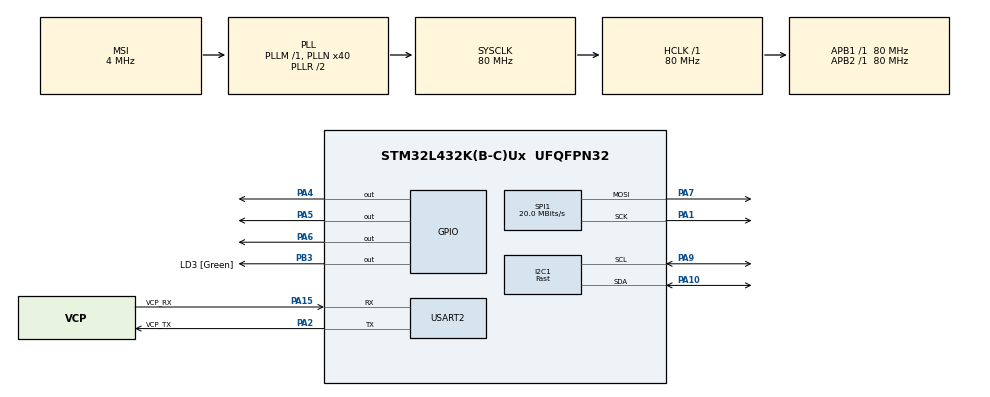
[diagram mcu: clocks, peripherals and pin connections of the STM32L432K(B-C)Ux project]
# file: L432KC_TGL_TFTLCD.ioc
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I2C1.I2C_Speed_Mode=I2C_Fast
I2C1.Timing=0x00702991
Mcu.Family=STM32L4
Mcu.Name=STM32L432K(B-C)Ux
Mcu.Package=UFQFPN32
NVIC.PriorityGroup=NVIC_PRIORITYGROUP_4
NVIC.TIM2_IRQn=true\:0\:0\:false\:false\:true\:true
PA0.GPIO_Label=MCO [High speed clock in]
PA0.Signal=RCC_CK_IN
PA1.Mode=TX_Only_Simplex_Unidirect_Master
PA1.Signal=SPI1_SCK
PA10.Mode=I2C
PA10.Signal=I2C1_SDA
PA13\ (JTMS-SWDIO).GPIO_Label=SWDIO
PA13\ (JTMS-SWDIO).Signal=SYS_JTMS-SWDIO
PA14\ (JTCK-SWCLK).GPIO_Label=SWCLK
PA14\ (JTCK-SWCLK).Signal=SYS_JTCK-SWCLK
PA15\ (JTDI).GPIO_Label=VCP_RX
PA15\ (JTDI).Mode=Asynchronous
PA15\ (JTDI).Signal=USART2_RX
PA2.GPIO_Label=VCP_TX
PA2.Mode=Asynchronous
PA2.Signal=USART2_TX
PA4.Signal=GPIO_Output
PA5.Signal=GPIO_Output
PA6.Signal=GPIO_Output
PA7.Mode=TX_Only_Simplex_Unidirect_Master
PA7.Signal=SPI1_MOSI
PA9.Mode=I2C
PA9.Signal=I2C1_SCL
PB3\ (JTDO-TRACESWO).GPIO_Label=LD3 [Green]
PB3\ (JTDO-TRACESWO).Signal=GPIO_Output
PC14-OSC32_IN\ (PC14).Signal=RCC_OSC32_IN
PC15-OSC32_OUT\ (PC15).Signal=RCC_OSC32_OUT
ProjectManager.HeapSize=0x200
ProjectManager.StackSize=0x400
ProjectManager.TargetToolchain=TrueSTUDIO
RCC.ADCFreq_Value=32000000
RCC.AHBFreq_Value=80000000
RCC.APB1Freq_Value=80000000
RCC.APB1TimFreq_Value=80000000
RCC.APB2Freq_Value=80000000
RCC.APB2TimFreq_Value=80000000
RCC.CortexFreq_Value=80000000
RCC.HCLKFreq_Value=80000000
RCC.HSE_VALUE=8000000
RCC.HSI16_VALUE=16000000
RCC.HSI48_VALUE=48000000
RCC.HSI_VALUE=16000000
RCC.LSE_VALUE=32768
RCC.MSI_VALUE=4000000
RCC.PLLMUL=RCC_PLLMUL_4
RCC.PLLN=40
RCC.PLLSAI1N=16
RCC.SYSCLKFreq_VALUE=80000000
RCC.SYSCLKSource=RCC_SYSCLKSOURCE_PLLCLK
RCC.USBFreq_Value=32000000
RCC.VCOOutputFreq_Value=160000000
SPI1.BaudRatePrescaler=SPI_BAUDRATEPRESCALER_4
SPI1.CalculateBaudRate=20.0 MBits/s
SPI1.DataSize=SPI_DATASIZE_8BIT
SPI1.Direction=SPI_DIRECTION_2LINES
SPI1.Mode=SPI_MODE_MASTER
SPI1.NSSPMode=SPI_NSS_PULSE_DISABLE
SPI1.VirtualType=VM_MASTER
TIM2.Period=9999
TIM2.Prescaler=7999
USART2.VirtualMode-Asynchronous=VM_ASYNC
USART2.WordLength=WORDLENGTH_8B
VP_RNG_VS_RNG.Mode=RNG_Activate
VP_TIM2_VS_ClockSourceINT.Mode=Internal
board=NUCLEO-L432KC

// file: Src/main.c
/**
  ******************************************************************************
  * File Name          : main.c
  * Description        : Main program body
  ******************************************************************************
  ** This notice applies to any and all portions of this file
  * that are not between comment pairs USER CODE BEGIN and
  * USER CODE END. Other portions of this file, whether
  * inserted by the user or by software development tools
  * are owned by their respective copyright owners.
  *
  * COPYRIGHT(c) 2017 STMicroelectronics
  *
  * Redistribution and use in source and binary forms, with or without modification,
  * are permitted provided that the following conditions are met:
  *   1. Redistributions of source code must retain the above copyright notice,
  *      this list of conditions and the following disclaimer.
  *   2. Redistributions in binary form must reproduce the above copyright notice,
  *      this list of conditions and the following disclaimer in the documentation
  *      and/or other materials provided with the distribution.
  *   3. Neither the name of STMicroelectronics nor the names of its contributors
  *      may be used to endorse or promote products derived from this software
  *      without specific prior written permission.
  *
  * THIS SOFTWARE IS PROVIDED BY THE COPYRIGHT HOLDERS AND CONTRIBUTORS "AS IS"
  * AND ANY EXPRESS OR IMPLIED WARRANTIES, INCLUDING, BUT NOT LIMITED TO, THE
  * IMPLIED WARRANTIES OF MERCHANTABILITY AND FITNESS FOR A PARTICULAR PURPOSE ARE
  * DISCLAIMED. IN NO EVENT SHALL THE COPYRIGHT HOLDER OR CONTRIBUTORS BE LIABLE
  * FOR ANY DIRECT, INDIRECT, INCIDENTAL, SPECIAL, EXEMPLARY, OR CONSEQUENTIAL
  * DAMAGES (INCLUDING, BUT NOT LIMITED TO, PROCUREMENT OF SUBSTITUTE GOODS OR
  * SERVICES; LOSS OF USE, DATA, OR PROFITS; OR BUSINESS INTERRUPTION) HOWEVER
  * CAUSED AND ON ANY THEORY OF LIABILITY, WHETHER IN CONTRACT, STRICT LIABILITY,
  * OR TORT (INCLUDING NEGLIGENCE OR OTHERWISE) ARISING IN ANY WAY OUT OF THE USE
  * OF THIS SOFTWARE, EVEN IF ADVISED OF THE POSSIBILITY OF SUCH DAMAGE.
  *
  ******************************************************************************
  */

#include "main.h"
#include "stm32l4xx_hal.h"

/* USER CODE BEGIN Includes */

#include "LTM022A69B.h"
#include "userDelay.h"
#include "arm_math.h"

#include <stdio.h>
#include <math.h>
#include <string.h>
#include <time.h>

#define I2C_ADDR     (0x44<<1)
/* USER CODE END Includes */

I2C_HandleTypeDef hi2c1;

RNG_HandleTypeDef hrng;

SPI_HandleTypeDef hspi1;

TIM_HandleTypeDef htim2;

UART_HandleTypeDef huart2;

/* USER CODE BEGIN PV */
/* Private variables ---------------------------------------------------------*/
uint8_t 	Rx_Data2[2];     // usart2 receive data
uint8_t		Tx_I2C_Data[2];
uint8_t 	Rx_I2C_Data[6];
uint8_t		count = 0;
/* USER CODE END PV */

void SystemClock_Config(void);
static void MX_GPIO_Init(void);
static void MX_USART2_UART_Init(void);
static void MX_SPI1_Init(void);
static void MX_TIM2_Init(void);
static void MX_I2C1_Init(void);
static void MX_RNG_Init(void);

/* USER CODE BEGIN PFP */
/* Private function prototypes -----------------------------------------------*/
void HAL_UART_RxCpltCallback(UART_HandleTypeDef *huart);
void HAL_TIM_PeriodElapsedCallback(TIM_HandleTypeDef *htim);

/* USER CODE END PFP */

/* USER CODE BEGIN 0 */
void HAL_UART_RxCpltCallback(UART_HandleTypeDef *huart)
{
	if(huart->Instance==USART2){
//		HAL_UART_Transmit(&huart2,(uint8_t *)&Rx_Data2, 1,1000);
//		HAL_UART_Receive_IT(&huart2,(uint8_t *)&Rx_Data2, 1);
	}
}

char prtData[50];
uint16_t temp,humi;
double  Ftemp, Fhumi;
void HAL_TIM_PeriodElapsedCallback(TIM_HandleTypeDef *htim)
{
	if(htim->Instance==TIM2) {
		if(count++==2)
		{
			count = 0;
			Tx_I2C_Data[0] = 0x00;
			while(HAL_I2C_Master_Transmit(&hi2c1,(uint16_t)I2C_ADDR,(uint8_t *)&Tx_I2C_Data,0,1000)!=HAL_OK);
			delay_ms(50);
			while(HAL_I2C_Master_Receive (&hi2c1,(uint16_t)I2C_ADDR,(uint8_t *)Rx_I2C_Data,4,1000)!=HAL_OK);

			temp = 0;
			temp = (Rx_I2C_Data[0]<<8) | Rx_I2C_Data[1];
			temp &= 0x3FFF;
			Fhumi = (temp/16383.0)*100.0;

			humi = 0;
			humi = (Rx_I2C_Data[2]<<8) | Rx_I2C_Data[3];
			humi &= 0xFFFC;
			Ftemp = (humi/4.0/16383)*165.0-40;

			// send data to Remote per 5 sec
			sprintf(prtData,"온습도:%8.3f C,%8.3f %%",Ftemp,Fhumi);
			HAL_UART_Transmit(&huart2,(uint8_t *)prtData, strlen(prtData),1000);
			HAL_UART_Transmit(&huart2,(uint8_t *)"\r\n", 2,1000);
			// lcd_clear_screen(rand()%17);

/*			uint16_t clr,x1,x2,y1,y2;

			clr = (uint16_t)(rand()%17);
			x1 = (uint16_t)(rand()%240);
			y1 = (uint16_t)(rand()%320);
			x2 = (uint16_t)(rand()%240);
			y2 = (uint16_t)(rand()%320); */

//------------------
     		LCD_WRITE_COMMAND( 0x003, 0x1230 );
//			lcd_string(10,0,prtData, WHITE, DARKGRAY);
			lcd_display_string(prtData, WHITE, DARKGRAY,0,0);

			LCD_WRITE_COMMAND( 0x003, 0x1238 );
//			lcd_string(11,0,prtData, WHITE, DARKGRAY);
			lcd_display_string(prtData, WHITE, DARKGRAY,0,1);
			LCD_WRITE_COMMAND( 0x003, 0x12a0 );
			lcd_string(12,0,prtData, WHITE, DARKGRAY);
			LCD_WRITE_COMMAND( 0x003, 0x12b0 );
			lcd_string(13,0,prtData, WHITE, DARKGRAY);

			LCD_WRITE_COMMAND( 0x003, 0x1288 );
			lcd_string(15,0,prtData, WHITE, DARKGRAY);
			LCD_WRITE_COMMAND( 0x003, 0x1298 );
			lcd_string(16,0,prtData, WHITE, DARKGRAY);
			LCD_WRITE_COMMAND( 0x003, 0x12a8 );
			lcd_string(17,0,prtData, WHITE, DARKGRAY);
			LCD_WRITE_COMMAND( 0x003, 0x12b8 );
			lcd_string(18,0,prtData, WHITE, DARKGRAY);

			// sprintf(prtData,"%4d%4d%4d%4d",x1,y1,x2,y2);
			// lcd_string(12,0,prtData, RED, WHITE);
			// lcd_draw_line(clr,x1,y1,x2,y2);

		}
	}
}
/* USER CODE END 0 */

int main(void)
{

  /* MCU Configuration----------------------------------------------------------*/

  /* Reset of all peripherals, Initializes the Flash interface and the Systick. */
  HAL_Init();

  /* Configure the system clock */
  SystemClock_Config();

  /* Initialize all configured peripherals */
  MX_GPIO_Init();
  MX_USART2_UART_Init();
  MX_SPI1_Init();
  MX_TIM2_Init();
  MX_I2C1_Init();
  MX_RNG_Init();

  /* Infinite loop */
  /* USER CODE BEGIN WHILE */

//  srand( (int)time(NULL));

  volatile double  	d1,d2;

  lcd_init();
  lcd_clear_screen(ORANGE);

  int Color[] = {
    CYAN,
    PURPLE,
    RED,
    GREEN,
    BLUE,
    WHITE,
    YELLOW,
    ORANGE,
    GRAY,
    LGRAY,
    DARKGRAY,
    PORPO,
    PINK,
    GRAYBLUE,
    LGRAYBLUE,
    DARKBLUE,
    LIGHTBLUE
  };

  //for(int m=0;m<17;m++) lcd_clear_screen(Color[m]);

  while(HAL_UART_Receive_IT(&huart2, (uint8_t *)Rx_Data2, 1)!=HAL_OK);
  while(HAL_TIM_Base_Start_IT(&htim2)!=HAL_OK);

  char sdata[20];
  while (1)
  {
  /* USER CODE END WHILE */

  /* USER CODE BEGIN 3 */
	  d1 = 0;
	  for(volatile int n=0;n<10000;n++)
	  {
		  d1 = arm_sin_f32(n);
		  d1 = arm_cos_f32(n);
		  d1 = tan(n);
	  }
		HAL_GPIO_TogglePin(LD3_GPIO_Port, LD3_Pin);

/*	  d2 = 0;
	  for(int n=0;n<10000;n++)
	  {
		  d2 += sin((rand()%90)*3.141592/180);
	  }
      HAL_GPIO_TogglePin(LD3_GPIO_Port, LD3_Pin);
*/
     // sprintf(sdata,"%8.2f,%8.2f",d1,d2);
	 // lcd_string(10,0,sdata, WHITE, DARKGRAY);

	  /*	 for(n=1;n<100001;n++) {
	     d1 = sin(n*3.141592/180); // d= arm_sin_f32(n*3.141592/180);
	  	 d2 = cos(n*3.141592/180);
	  	 d3 = tan(n*3.141592/180);
		 HAL_GPIO_TogglePin(LD3_GPIO_Port, LD3_Pin);
		 HAL_GPIO_TogglePin(GPIOA, GPIO_PIN_9);
		 HAL_GPIO_TogglePin(GPIOA, GPIO_PIN_10);
		 HAL_GPIO_TogglePin(GPIOB, GPIO_PIN_6);

		 sprintf(str,"%07d : %10.4f%10.4f%10.4f\r\n",n,d1,d2,d3);
		 HAL_UART_Transmit(&huart2,(uint8_t *)str,strlen(str),1000);
		 HAL_Delay(500);
	  } */
/*
	  	  for(int n=0;n<20;n++) {
			  lcd_clear_screen(Color[n % 17]);
	  		  for(int i=0; i<20; i++)
	  		  {
			  sprintf(bufnum, "[%02d]", i);
			  lcd_string(i,0,bufnum, Color[i % 17], Color[n % 17]);
			  lcd_string(i,4,"한글입력, 안녕하세요~!@#", Color[i % 17], Color[n % 17]);
			  // HAL_Delay(100);
	  		  }
	  	  } */

	  /*
	 HAL_GPIO_TogglePin(LD3_GPIO_Port, LD3_Pin);
	 HAL_GPIO_TogglePin(GPIOA, GPIO_PIN_9);
	 delay_ms(1);
	 */

  }
  /* USER CODE END 3 */

}

/** System Clock Configuration
*/
void SystemClock_Config(void)
{

  RCC_OscInitTypeDef RCC_OscInitStruct;
  RCC_ClkInitTypeDef RCC_ClkInitStruct;
  RCC_PeriphCLKInitTypeDef PeriphClkInit;

    /**Initializes the CPU, AHB and APB busses clocks
    */
  RCC_OscInitStruct.OscillatorType = RCC_OSCILLATORTYPE_MSI;
  RCC_OscInitStruct.MSIState = RCC_MSI_ON;
  RCC_OscInitStruct.MSICalibrationValue = 0;
  RCC_OscInitStruct.MSIClockRange = RCC_MSIRANGE_6;
  RCC_OscInitStruct.PLL.PLLState = RCC_PLL_ON;
  RCC_OscInitStruct.PLL.PLLSource = RCC_PLLSOURCE_MSI;
  RCC_OscInitStruct.PLL.PLLM = 1;
  RCC_OscInitStruct.PLL.PLLN = 40;
  RCC_OscInitStruct.PLL.PLLP = RCC_PLLP_DIV7;
  RCC_OscInitStruct.PLL.PLLQ = RCC_PLLQ_DIV2;
  RCC_OscInitStruct.PLL.PLLR = RCC_PLLR_DIV2;
  if (HAL_RCC_OscConfig(&RCC_OscInitStruct) != HAL_OK)
  {
    _Error_Handler(__FILE__, __LINE__);
  }

    /**Initializes the CPU, AHB and APB busses clocks
    */
  RCC_ClkInitStruct.ClockType = RCC_CLOCKTYPE_HCLK|RCC_CLOCKTYPE_SYSCLK
                              |RCC_CLOCKTYPE_PCLK1|RCC_CLOCKTYPE_PCLK2;
  RCC_ClkInitStruct.SYSCLKSource = RCC_SYSCLKSOURCE_PLLCLK;
  RCC_ClkInitStruct.AHBCLKDivider = RCC_SYSCLK_DIV1;
  RCC_ClkInitStruct.APB1CLKDivider = RCC_HCLK_DIV1;
  RCC_ClkInitStruct.APB2CLKDivider = RCC_HCLK_DIV1;

  if (HAL_RCC_ClockConfig(&RCC_ClkInitStruct, FLASH_LATENCY_4) != HAL_OK)
  {
    _Error_Handler(__FILE__, __LINE__);
  }

  PeriphClkInit.PeriphClockSelection = RCC_PERIPHCLK_USART2|RCC_PERIPHCLK_I2C1
                              |RCC_PERIPHCLK_RNG;
  PeriphClkInit.Usart2ClockSelection = RCC_USART2CLKSOURCE_PCLK1;
  PeriphClkInit.I2c1ClockSelection = RCC_I2C1CLKSOURCE_PCLK1;
  PeriphClkInit.RngClockSelection = RCC_RNGCLKSOURCE_PLLSAI1;
  PeriphClkInit.PLLSAI1.PLLSAI1Source = RCC_PLLSOURCE_MSI;
  PeriphClkInit.PLLSAI1.PLLSAI1M = 1;
  PeriphClkInit.PLLSAI1.PLLSAI1N = 16;
  PeriphClkInit.PLLSAI1.PLLSAI1P = RCC_PLLP_DIV7;
  PeriphClkInit.PLLSAI1.PLLSAI1Q = RCC_PLLQ_DIV2;
  PeriphClkInit.PLLSAI1.PLLSAI1R = RCC_PLLR_DIV2;
  PeriphClkInit.PLLSAI1.PLLSAI1ClockOut = RCC_PLLSAI1_48M2CLK;
  if (HAL_RCCEx_PeriphCLKConfig(&PeriphClkInit) != HAL_OK)
  {
    _Error_Handler(__FILE__, __LINE__);
  }

    /**Configure the main internal regulator output voltage
    */
  if (HAL_PWREx_ControlVoltageScaling(PWR_REGULATOR_VOLTAGE_SCALE1) != HAL_OK)
  {
    _Error_Handler(__FILE__, __LINE__);
  }

    /**Configure the Systick interrupt time
    */
  HAL_SYSTICK_Config(HAL_RCC_GetHCLKFreq()/1000);

    /**Configure the Systick
    */
  HAL_SYSTICK_CLKSourceConfig(SYSTICK_CLKSOURCE_HCLK);

  /* SysTick_IRQn interrupt configuration */
  HAL_NVIC_SetPriority(SysTick_IRQn, 0, 0);
}

/* I2C1 init function */
static void MX_I2C1_Init(void)
{

  hi2c1.Instance = I2C1;
  hi2c1.Init.Timing = 0x00702991;
  hi2c1.Init.OwnAddress1 = 0;
  hi2c1.Init.AddressingMode = I2C_ADDRESSINGMODE_7BIT;
  hi2c1.Init.DualAddressMode = I2C_DUALADDRESS_DISABLE;
  hi2c1.Init.OwnAddress2 = 0;
  hi2c1.Init.OwnAddress2Masks = I2C_OA2_NOMASK;
  hi2c1.Init.GeneralCallMode = I2C_GENERALCALL_DISABLE;
  hi2c1.Init.NoStretchMode = I2C_NOSTRETCH_DISABLE;
  if (HAL_I2C_Init(&hi2c1) != HAL_OK)
  {
    _Error_Handler(__FILE__, __LINE__);
  }

    /**Configure Analogue filter
    */
  if (HAL_I2CEx_ConfigAnalogFilter(&hi2c1, I2C_ANALOGFILTER_ENABLE) != HAL_OK)
  {
    _Error_Handler(__FILE__, __LINE__);
  }

    /**Configure Digital filter
    */
  if (HAL_I2CEx_ConfigDigitalFilter(&hi2c1, 0) != HAL_OK)
  {
    _Error_Handler(__FILE__, __LINE__);
  }

}

/* RNG init function */
static void MX_RNG_Init(void)
{

  hrng.Instance = RNG;
  if (HAL_RNG_Init(&hrng) != HAL_OK)
  {
    _Error_Handler(__FILE__, __LINE__);
  }

}

/* SPI1 init function */
static void MX_SPI1_Init(void)
{

  /* SPI1 parameter configuration*/
  hspi1.Instance = SPI1;
  hspi1.Init.Mode = SPI_MODE_MASTER;
  hspi1.Init.Direction = SPI_DIRECTION_2LINES;
  hspi1.Init.DataSize = SPI_DATASIZE_8BIT;
  hspi1.Init.CLKPolarity = SPI_POLARITY_LOW;
  hspi1.Init.CLKPhase = SPI_PHASE_1EDGE;
  hspi1.Init.NSS = SPI_NSS_SOFT;
  hspi1.Init.BaudRatePrescaler = SPI_BAUDRATEPRESCALER_4;
  hspi1.Init.FirstBit = SPI_FIRSTBIT_MSB;
  hspi1.Init.TIMode = SPI_TIMODE_DISABLE;
  hspi1.Init.CRCCalculation = SPI_CRCCALCULATION_DISABLE;
  hspi1.Init.CRCPolynomial = 7;
  hspi1.Init.CRCLength = SPI_CRC_LENGTH_DATASIZE;
  hspi1.Init.NSSPMode = SPI_NSS_PULSE_DISABLE;
  if (HAL_SPI_Init(&hspi1) != HAL_OK)
  {
    _Error_Handler(__FILE__, __LINE__);
  }

}

/* TIM2 init function */
static void MX_TIM2_Init(void)
{

  TIM_ClockConfigTypeDef sClockSourceConfig;
  TIM_MasterConfigTypeDef sMasterConfig;

  htim2.Instance = TIM2;
  htim2.Init.Prescaler = 7999;
  htim2.Init.CounterMode = TIM_COUNTERMODE_UP;
  htim2.Init.Period = 9999;
  htim2.Init.ClockDivision = TIM_CLOCKDIVISION_DIV1;
  htim2.Init.AutoReloadPreload = TIM_AUTORELOAD_PRELOAD_DISABLE;
  if (HAL_TIM_Base_Init(&htim2) != HAL_OK)
  {
    _Error_Handler(__FILE__, __LINE__);
  }

  sClockSourceConfig.ClockSource = TIM_CLOCKSOURCE_INTERNAL;
  if (HAL_TIM_ConfigClockSource(&htim2, &sClockSourceConfig) != HAL_OK)
  {
    _Error_Handler(__FILE__, __LINE__);
  }

  sMasterConfig.MasterOutputTrigger = TIM_TRGO_RESET;
  sMasterConfig.MasterSlaveMode = TIM_MASTERSLAVEMODE_DISABLE;
  if (HAL_TIMEx_MasterConfigSynchronization(&htim2, &sMasterConfig) != HAL_OK)
  {
    _Error_Handler(__FILE__, __LINE__);
  }

}

/* USART2 init function */
static void MX_USART2_UART_Init(void)
{

  huart2.Instance = USART2;
  huart2.Init.BaudRate = 115200;
  huart2.Init.WordLength = UART_WORDLENGTH_8B;
  huart2.Init.StopBits = UART_STOPBITS_1;
  huart2.Init.Parity = UART_PARITY_NONE;
  huart2.Init.Mode = UART_MODE_TX_RX;
  huart2.Init.HwFlowCtl = UART_HWCONTROL_NONE;
  huart2.Init.OverSampling = UART_OVERSAMPLING_16;
  huart2.Init.OneBitSampling = UART_ONE_BIT_SAMPLE_DISABLE;
  huart2.AdvancedInit.AdvFeatureInit = UART_ADVFEATURE_NO_INIT;
  if (HAL_UART_Init(&huart2) != HAL_OK)
  {
    _Error_Handler(__FILE__, __LINE__);
  }

}

/** Configure pins as
        * Analog
        * Input
        * Output
        * EVENT_OUT
        * EXTI
*/
static void MX_GPIO_Init(void)
{

  GPIO_InitTypeDef GPIO_InitStruct;

  /* GPIO Ports Clock Enable */
  __HAL_RCC_GPIOC_CLK_ENABLE();
  __HAL_RCC_GPIOA_CLK_ENABLE();
  __HAL_RCC_GPIOB_CLK_ENABLE();

  /*Configure GPIO pin Output Level */
  HAL_GPIO_WritePin(GPIOA, GPIO_PIN_4|GPIO_PIN_5|GPIO_PIN_6, GPIO_PIN_RESET);

  /*Configure GPIO pin Output Level */
  HAL_GPIO_WritePin(LD3_GPIO_Port, LD3_Pin, GPIO_PIN_RESET);

  /*Configure GPIO pins : PA4 PA5 PA6 */
  GPIO_InitStruct.Pin = GPIO_PIN_4|GPIO_PIN_5|GPIO_PIN_6;
  GPIO_InitStruct.Mode = GPIO_MODE_OUTPUT_PP;
  GPIO_InitStruct.Pull = GPIO_NOPULL;
  GPIO_InitStruct.Speed = GPIO_SPEED_FREQ_LOW;
  HAL_GPIO_Init(GPIOA, &GPIO_InitStruct);

  /*Configure GPIO pin : LD3_Pin */
  GPIO_InitStruct.Pin = LD3_Pin;
  GPIO_InitStruct.Mode = GPIO_MODE_OUTPUT_PP;
  GPIO_InitStruct.Pull = GPIO_NOPULL;
  GPIO_InitStruct.Speed = GPIO_SPEED_FREQ_LOW;
  HAL_GPIO_Init(LD3_GPIO_Port, &GPIO_InitStruct);

}

void _Error_Handler(char * file, int line)
{
  while(1)
  {
  }
}

/************************ (C) COPYRIGHT STMicroelectronics *****END OF FILE****/
